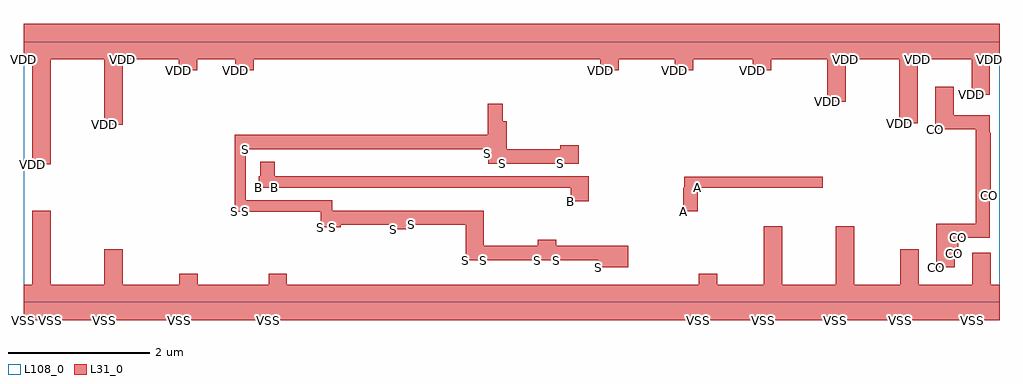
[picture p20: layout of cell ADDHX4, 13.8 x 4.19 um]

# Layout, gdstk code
import gdstk
lib = gdstk.Library(unit=1e-6, precision=1e-09)
def R(c, l, rs):  # rectangles x0, y0, x1, y1
    for r in rs: c.add(gdstk.rectangle(r[:2], r[2:], *l))
L31_0 = (31, 0)
L108_0 = (108, 0)

addhx4 = lib.new_cell('ADDHX4')
R(addhx4, L31_0, [(0,-0.25,0.125,0.25), (0.125,-0.25,0.385,1.295), (0.385,-0.25,1.145,0.25), (1.145,-0.25,1.405,0.755), (1.405,-0.25,2.205,0.25), (2.205,-0.25,2.465,0.405), (2.465,-0.25,3.465,0.25), (3.465,-0.25,3.725,0.405), (3.725,-0.25,9.55,0.25), (9.55,-0.25,9.81,0.405), (9.81,-0.25,10.465,0.25), (10.465,-0.25,10.725,1.075), (10.725,-0.25,11.485,0.25), (11.485,-0.25,11.745,1.075), (11.745,-0.25,12.395,0.25), (12.395,-0.25,12.655,0.755), (12.655,-0.25,13.415,0.25), (13.415,-0.25,13.675,0.705), (13.675,-0.25,13.8,0.25), (8.13,0.495,8.55,0.8), (12.905,0.495,13.165,1.115), (6.25,0.6,6.51,1.3), (6.51,0.6,7.27,0.8), (7.27,0.6,7.53,0.89), (7.53,0.6,8.13,0.8), (13.165,0.695,13.215,1.115), (13.215,0.915,13.465,1.115), (13.465,0.915,13.665,2.65), (5.23,1.035,5.49,1.3), (4.205,1.065,4.365,1.445), (4.365,1.065,4.485,1.3), (4.485,1.1,5.23,1.3), (5.49,1.1,6.25,1.3), (2.985,1.285,3.145,2.37), (3.145,1.285,4.205,1.445), (9.325,1.29,9.34,1.62), (9.34,1.29,9.535,1.78), (7.735,1.43,7.995,1.785), (13.665,1.515,13.675,2.4), (9.535,1.62,11.3,1.78), (3.325,1.625,3.345,1.785), (3.345,1.625,3.555,1.99), (3.555,1.625,7.735,1.785), (0.125,1.955,0.385,3.94), (6.57,1.965,6.775,2.81), (6.775,1.965,6.83,2.565), (6.83,1.965,7.59,2.165), (7.59,1.965,7.85,2.225), (6.565,2.11,6.57,2.81), (3.145,2.17,6.565,2.37), (12.895,2.45,13.155,3.05), (13.155,2.45,13.465,2.65), (1.145,2.51,1.405,3.94), (12.385,2.535,12.645,3.94), (11.365,2.835,11.625,3.94), (13.405,2.935,13.665,3.94), (2.195,3.285,2.455,3.94), (2.995,3.285,3.255,3.94), (8.155,3.285,8.415,3.94), (9.21,3.285,9.47,3.94), (10.31,3.285,10.57,3.94), (0,3.44,0.125,3.94), (0.385,3.44,1.145,3.94), (1.405,3.44,2.195,3.94), (2.455,3.44,2.995,3.94), (3.255,3.44,8.155,3.94), (8.415,3.44,9.21,3.94), (9.47,3.44,10.31,3.94), (10.57,3.44,11.365,3.94), (11.625,3.44,12.385,3.94), (12.645,3.44,13.405,3.94), (13.665,3.44,13.8,3.94)])
R(addhx4, L108_0, [(0,0,13.8,3.69)])
addhx4.add(gdstk.Label('S', (2.985,1.285), layer=131, texttype=0))
addhx4.add(gdstk.Label('S', (3.145,1.285), layer=131, texttype=0))
addhx4.add(gdstk.Label('S', (4.205,1.065), layer=131, texttype=0))
addhx4.add(gdstk.Label('S', (4.365,1.065), layer=131, texttype=0))
addhx4.add(gdstk.Label('S', (4.485,1.1), layer=131, texttype=0))
addhx4.add(gdstk.Label('S', (5.23,1.035), layer=131, texttype=0))
addhx4.add(gdstk.Label('S', (5.49,1.1), layer=131, texttype=0))
addhx4.add(gdstk.Label('S', (6.25,0.6), layer=131, texttype=0))
addhx4.add(gdstk.Label('S', (3.145,2.17), layer=131, texttype=0))
addhx4.add(gdstk.Label('S', (6.565,2.11), layer=131, texttype=0))
addhx4.add(gdstk.Label('S', (6.57,1.965), layer=131, texttype=0))
addhx4.add(gdstk.Label('S', (6.775,1.965), layer=131, texttype=0))
addhx4.add(gdstk.Label('S', (6.51,0.6), layer=131, texttype=0))
addhx4.add(gdstk.Label('S', (7.27,0.6), layer=131, texttype=0))
addhx4.add(gdstk.Label('S', (6.83,1.965), layer=131, texttype=0))
addhx4.add(gdstk.Label('S', (7.59,1.965), layer=131, texttype=0))
addhx4.add(gdstk.Label('S', (7.53,0.6), layer=131, texttype=0))
addhx4.add(gdstk.Label('S', (8.13,0.495), layer=131, texttype=0))
addhx4.add(gdstk.Label('CO', (12.895,2.45), layer=131, texttype=0))
addhx4.add(gdstk.Label('CO', (12.905,0.495), layer=131, texttype=0))
addhx4.add(gdstk.Label('CO', (13.165,0.695), layer=131, texttype=0))
addhx4.add(gdstk.Label('CO', (13.155,2.45), layer=131, texttype=0))
addhx4.add(gdstk.Label('CO', (13.215,0.915), layer=131, texttype=0))
addhx4.add(gdstk.Label('CO', (13.465,0.915), layer=131, texttype=0))
addhx4.add(gdstk.Label('CO', (13.665,1.515), layer=131, texttype=0))
addhx4.add(gdstk.Label('B', (3.325,1.625), layer=131, texttype=0))
addhx4.add(gdstk.Label('B', (3.345,1.625), layer=131, texttype=0))
addhx4.add(gdstk.Label('B', (3.555,1.625), layer=131, texttype=0))
addhx4.add(gdstk.Label('B', (7.735,1.43), layer=131, texttype=0))
addhx4.add(gdstk.Label('A', (9.325,1.29), layer=131, texttype=0))
addhx4.add(gdstk.Label('A', (9.34,1.29), layer=131, texttype=0))
addhx4.add(gdstk.Label('A', (9.535,1.62), layer=131, texttype=0))
addhx4.add(gdstk.Label('VSS', (0,-0.25), layer=131, texttype=0))
addhx4.add(gdstk.Label('VSS', (0.125,-0.25), layer=131, texttype=0))
addhx4.add(gdstk.Label('VSS', (0.385,-0.25), layer=131, texttype=0))
addhx4.add(gdstk.Label('VSS', (1.145,-0.25), layer=131, texttype=0))
addhx4.add(gdstk.Label('VSS', (1.405,-0.25), layer=131, texttype=0))
addhx4.add(gdstk.Label('VSS', (2.205,-0.25), layer=131, texttype=0))
addhx4.add(gdstk.Label('VSS', (2.465,-0.25), layer=131, texttype=0))
addhx4.add(gdstk.Label('VSS', (3.465,-0.25), layer=131, texttype=0))
addhx4.add(gdstk.Label('VSS', (3.725,-0.25), layer=131, texttype=0))
addhx4.add(gdstk.Label('VSS', (9.55,-0.25), layer=131, texttype=0))
addhx4.add(gdstk.Label('VSS', (9.81,-0.25), layer=131, texttype=0))
addhx4.add(gdstk.Label('VSS', (10.465,-0.25), layer=131, texttype=0))
addhx4.add(gdstk.Label('VSS', (10.725,-0.25), layer=131, texttype=0))
addhx4.add(gdstk.Label('VSS', (11.485,-0.25), layer=131, texttype=0))
addhx4.add(gdstk.Label('VSS', (11.745,-0.25), layer=131, texttype=0))
addhx4.add(gdstk.Label('VSS', (12.395,-0.25), layer=131, texttype=0))
addhx4.add(gdstk.Label('VSS', (12.655,-0.25), layer=131, texttype=0))
addhx4.add(gdstk.Label('VSS', (13.415,-0.25), layer=131, texttype=0))
addhx4.add(gdstk.Label('VSS', (13.675,-0.25), layer=131, texttype=0))
addhx4.add(gdstk.Label('VDD', (0,3.44), layer=131, texttype=0))
addhx4.add(gdstk.Label('VDD', (0.125,1.955), layer=131, texttype=0))
addhx4.add(gdstk.Label('VDD', (0.385,3.44), layer=131, texttype=0))
addhx4.add(gdstk.Label('VDD', (1.145,2.51), layer=131, texttype=0))
addhx4.add(gdstk.Label('VDD', (1.405,3.44), layer=131, texttype=0))
addhx4.add(gdstk.Label('VDD', (2.195,3.285), layer=131, texttype=0))
addhx4.add(gdstk.Label('VDD', (2.455,3.44), layer=131, texttype=0))
addhx4.add(gdstk.Label('VDD', (2.995,3.285), layer=131, texttype=0))
addhx4.add(gdstk.Label('VDD', (3.255,3.44), layer=131, texttype=0))
addhx4.add(gdstk.Label('VDD', (8.155,3.285), layer=131, texttype=0))
addhx4.add(gdstk.Label('VDD', (8.415,3.44), layer=131, texttype=0))
addhx4.add(gdstk.Label('VDD', (9.21,3.285), layer=131, texttype=0))
addhx4.add(gdstk.Label('VDD', (9.47,3.44), layer=131, texttype=0))
addhx4.add(gdstk.Label('VDD', (10.31,3.285), layer=131, texttype=0))
addhx4.add(gdstk.Label('VDD', (10.57,3.44), layer=131, texttype=0))
addhx4.add(gdstk.Label('VDD', (11.365,2.835), layer=131, texttype=0))
addhx4.add(gdstk.Label('VDD', (11.625,3.44), layer=131, texttype=0))
addhx4.add(gdstk.Label('VDD', (12.385,2.535), layer=131, texttype=0))
addhx4.add(gdstk.Label('VDD', (12.645,3.44), layer=131, texttype=0))
addhx4.add(gdstk.Label('VDD', (13.405,2.935), layer=131, texttype=0))
addhx4.add(gdstk.Label('VDD', (13.665,3.44), layer=131, texttype=0))

lib.write_gds('ADDHX4.gds')
